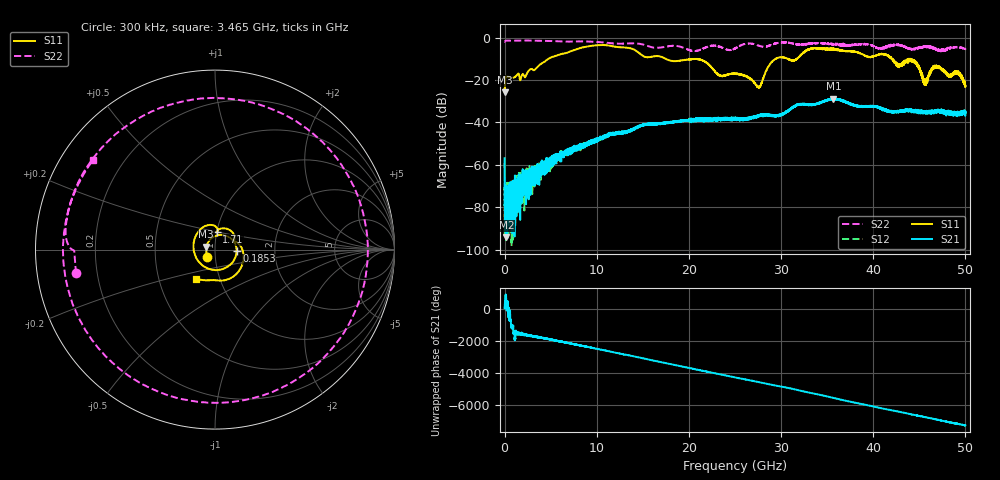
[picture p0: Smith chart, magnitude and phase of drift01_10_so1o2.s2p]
!Created with skrf (http://scikit-rf.org).
# Hz S RI R 50.0
!freq ReS11 ImS11 ReS21 ImS21 ReS12 ImS12 ReS22 ImS22
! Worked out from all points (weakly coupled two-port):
!   10001 points, 300 kHz to 50 GHz, reference 50 ohm
!   highest |S21| = -28.78 dB at 35.68 GHz (marker M1); lowest = -94.1 dB at 190.3 MHz (marker M2)
!   lowest |S11| = -25.8 dB at 5.3 MHz (marker M3), VSWR 1.11, Z = 45.3 + j1.44 ohm
!   |S11| at or under -10 dB: start of sweep to 4.763 GHz; 17.5 GHz to 29.41 GHz (11.92 GHz wide, 50.8 % of centre); 44.05 GHz to end of sweep (the widest 3 of 10)
!   |S22| runs from -6.6 to -1.4 dB; largest |S21 - S12| = 0.0043
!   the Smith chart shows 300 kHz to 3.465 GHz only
!   S11 on the Smith chart (normalised r, x): 300 kHz: 0.91, -0.07; 185.3 MHz: 1.27, -0.02; 1.71 GHz: 1.00, +0.20; 3.465 GHz: 0.77, -0.26
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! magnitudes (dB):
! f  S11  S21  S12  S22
! 300 kHz  -24.1  -56.9  -58.9  -2.1
! 5.3 MHz  -25.8  -73.4  -79.9  -2.1
! 185.3 MHz  -18.4  -91.5  -78.5  -1.4
! 190.3 MHz  -18.3  -94.1  -72.7  -1.4
! 380.3 MHz  -18.5  -72.2  -77.3  -1.4
! 1.71 GHz  -20.0  -65.0  -67.5  -1.4
! 3.465 GHz  -14.3  -64.3  -62.0  -1.5
! 8.335 GHz  -4.8  -50.5  -50.2  -1.8
! 16.67 GHz  -8.7  -40.7  -40.6  -4.8
! 25 GHz  -17.1  -38.5  -38.3  -5.1
! 27.59 GHz  -23.4  -36.7  -36.8  -3.9
! 29.28 GHz  -10.4  -36.8  -36.8  -2.9
! 31.45 GHz  -10.8  -32.4  -32.4  -3.0
! 33.34 GHz  -5.2  -31.7  -31.4  -2.6
! 35.68 GHz  -5.5  -28.8  -29.0  -3.4
! 41.67 GHz  -8.9  -34.6  -34.5  -4.5
! 42.74 GHz  -12.4  -35.1  -35.1  -3.2
! 44.41 GHz  -11.0  -34.3  -34.4  -5.3
! 45.63 GHz  -21.4  -35.0  -35.1  -4.4
! 46.88 GHz  -14.2  -34.4  -34.9  -5.4
! 49.21 GHz  -16.5  -35.9  -35.8  -4.4
! 50 GHz  -22.6  -35.1  -35.4  -5.4
